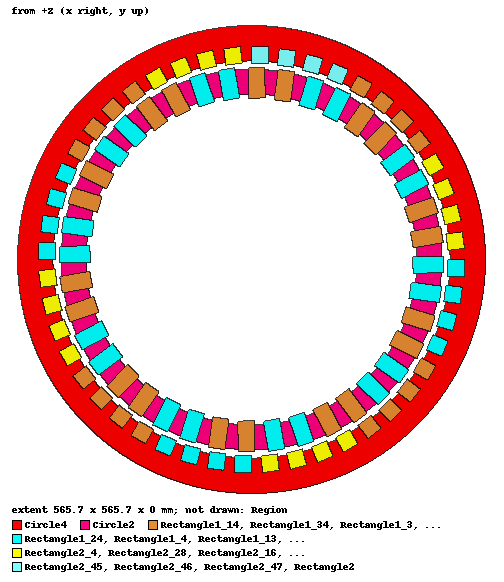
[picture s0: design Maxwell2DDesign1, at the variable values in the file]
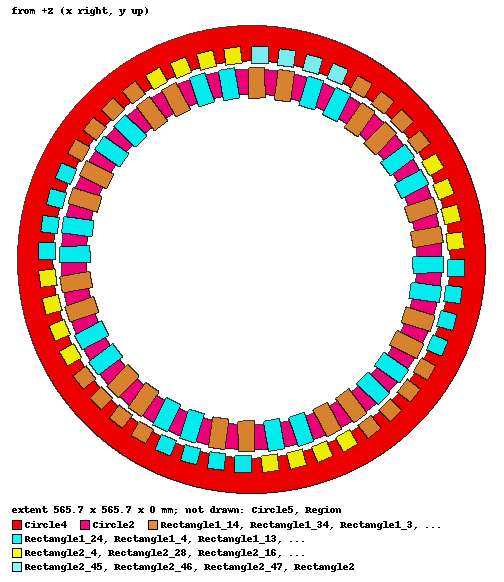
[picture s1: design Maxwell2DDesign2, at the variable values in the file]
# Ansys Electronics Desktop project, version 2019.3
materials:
  vacuum: permittivity=1
  steel_1008: permeability{HUnit=A_per_meter BUnit=tesla curve (0, 0) (159.2, 0.2402) (318.3, 0.8654) (477.5, 1.1106) (636.6, 1.2458) (795.8, 1.331) (1591.5, 1.5) (3183.1, 1.6) (4774.6, 1.683) (6366.2, 1.741) (7957.7, 1.78) (15915.5, 1.905) (31831, 2.025) (47746.5, 2.085) (63662, 2.13) (79577.5, 2.165) (159155, 2.28) (318310, 2.485) (397887, 2.5851)} conductivity=2000000
  copper: permeability=0.999991 conductivity=58000000

design Maxwell2DDesign1 (Maxwell 2D, Magnetostatic, XY geometry, model units mm)
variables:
  FieldPos = 5A
  rotation_angle = 10deg
  phaseA = 10*sin(2*Pi*Time)
  phaseB = 10*sin(2*Pi*Time-2*Pi/3)
  phaseC = -10*sin(2*Pi*Time+2*Pi/3)
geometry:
  Rectangle1 [copper] = rectangle(corner=(0mm, 195mm, 0mm), x_size=20mm, y_size=37mm)
  Circle1 = circle(normal=Z, centre=(0mm, 0mm, 0mm), radius=200mm)
  Circle2 [steel_1008] = circle(normal=Z, centre=(0mm, 0mm, 0mm), radius=230mm)
  Circle2.subtract(Circle1)
  Rectangle1_1..Rectangle1_39 [copper] = Rectangle1.duplicate_around_axis(axis=Z, angle=9deg, total=40)
  Rectangle1_40 = Rectangle1.copy()
  Rectangle1_1_1 = Rectangle1_1.copy()
  Rectangle1_10_1 = Rectangle1_10.copy()
  Rectangle1_11_1 = Rectangle1_11.copy()
  Rectangle1_12_1 = Rectangle1_12.copy()
  Rectangle1_13_1 = Rectangle1_13.copy()
  Rectangle1_14_1 = Rectangle1_14.copy()
  Rectangle1_15_1 = Rectangle1_15.copy()
  Rectangle1_16_1 = Rectangle1_16.copy()
  Rectangle1_17_1 = Rectangle1_17.copy()
  Rectangle1_18_1 = Rectangle1_18.copy()
  Rectangle1_19_1 = Rectangle1_19.copy()
  Rectangle1_2_1 = Rectangle1_2.copy()
  Rectangle1_20_1 = Rectangle1_20.copy()
  Rectangle1_21_1 = Rectangle1_21.copy()
  Rectangle1_22_1 = Rectangle1_22.copy()
  Rectangle1_23_1 = Rectangle1_23.copy()
  Rectangle1_24_1 = Rectangle1_24.copy()
  Rectangle1_25_1 = Rectangle1_25.copy()
  Rectangle1_26_1 = Rectangle1_26.copy()
  Rectangle1_27_1 = Rectangle1_27.copy()
  Rectangle1_28_1 = Rectangle1_28.copy()
  Rectangle1_29_1 = Rectangle1_29.copy()
  Rectangle1_3_1 = Rectangle1_3.copy()
  Rectangle1_30_1 = Rectangle1_30.copy()
  Rectangle1_31_1 = Rectangle1_31.copy()
  Rectangle1_32_1 = Rectangle1_32.copy()
  Rectangle1_33_1 = Rectangle1_33.copy()
  Rectangle1_34_1 = Rectangle1_34.copy()
  Rectangle1_35_1 = Rectangle1_35.copy()
  Rectangle1_36_1 = Rectangle1_36.copy()
  Rectangle1_37_1 = Rectangle1_37.copy()
  Rectangle1_38_1 = Rectangle1_38.copy()
  Rectangle1_39_1 = Rectangle1_39.copy()
  Rectangle1_4_1 = Rectangle1_4.copy()
  Rectangle1_5_1 = Rectangle1_5.copy()
  Rectangle1_6_1 = Rectangle1_6.copy()
  Rectangle1_7_1 = Rectangle1_7.copy()
  Rectangle1_8_1 = Rectangle1_8.copy()
  Rectangle1_9_1 = Rectangle1_9.copy()
  Circle2.subtract(Rectangle1_40, Rectangle1_1_1, Rectangle1_10_1, Rectangle1_11_1, Rectangle1_12_1, Rectangle1_13_1, Rectangle1_14_1, Rectangle1_15_1, Rectangle1_16_1, Rectangle1_17_1, Rectangle1_18_1, Rectangle1_19_1, Rectangle1_2_1, Rectangle1_20_1, Rectangle1_21_1, Rectangle1_22_1, Rectangle1_23_1, Rectangle1_24_1, Rectangle1_25_1, Rectangle1_26_1, Rectangle1_27_1, Rectangle1_28_1, Rectangle1_29_1, Rectangle1_3_1, Rectangle1_30_1, Rectangle1_31_1, Rectangle1_32_1, Rectangle1_33_1, Rectangle1_34_1, Rectangle1_35_1, Rectangle1_36_1, Rectangle1_37_1, Rectangle1_38_1, Rectangle1_39_1, Rectangle1_4_1, Rectangle1_5_1, Rectangle1_6_1, Rectangle1_7_1, Rectangle1_8_1, Rectangle1_9_1)
  Circle3 = circle(normal=Z, centre=(0mm, 0mm, 0mm), radius=240mm)
  Circle4 [steel_1008] = circle(normal=Z, centre=(0mm, 0mm, 0mm), radius=282.84271mm)
  Circle4.subtract(Circle3)
  Rectangle2 [copper] = rectangle(corner=(0mm, 237mm, 0mm), x_size=20mm, y_size=20mm)
  Rectangle2_1..Rectangle2_47 [copper] = Rectangle2.duplicate_around_axis(axis=Z, angle=7.5deg, total=48)
  Rectangle2_48 = Rectangle2.copy()
  Rectangle2_1_1 = Rectangle2_1.copy()
  Rectangle2_10_1 = Rectangle2_10.copy()
  Rectangle2_11_1 = Rectangle2_11.copy()
  Rectangle2_12_1 = Rectangle2_12.copy()
  Rectangle2_13_1 = Rectangle2_13.copy()
  Rectangle2_14_1 = Rectangle2_14.copy()
  Rectangle2_15_1 = Rectangle2_15.copy()
  Rectangle2_16_1 = Rectangle2_16.copy()
  Rectangle2_17_1 = Rectangle2_17.copy()
  Rectangle2_18_1 = Rectangle2_18.copy()
  Rectangle2_19_1 = Rectangle2_19.copy()
  Rectangle2_2_1 = Rectangle2_2.copy()
  Rectangle2_20_1 = Rectangle2_20.copy()
  Rectangle2_21_1 = Rectangle2_21.copy()
  Rectangle2_22_1 = Rectangle2_22.copy()
  Rectangle2_23_1 = Rectangle2_23.copy()
  Rectangle2_24_1 = Rectangle2_24.copy()
  Rectangle2_25_1 = Rectangle2_25.copy()
  Rectangle2_26_1 = Rectangle2_26.copy()
  Rectangle2_27_1 = Rectangle2_27.copy()
  Rectangle2_28_1 = Rectangle2_28.copy()
  Rectangle2_29_1 = Rectangle2_29.copy()
  Rectangle2_3_1 = Rectangle2_3.copy()
  Rectangle2_30_1 = Rectangle2_30.copy()
  Rectangle2_31_1 = Rectangle2_31.copy()
  Rectangle2_32_1 = Rectangle2_32.copy()
  Rectangle2_33_1 = Rectangle2_33.copy()
  Rectangle2_34_1 = Rectangle2_34.copy()
  Rectangle2_35_1 = Rectangle2_35.copy()
  Rectangle2_36_1 = Rectangle2_36.copy()
  Rectangle2_37_1 = Rectangle2_37.copy()
  Rectangle2_38_1 = Rectangle2_38.copy()
  Rectangle2_39_1 = Rectangle2_39.copy()
  Rectangle2_4_1 = Rectangle2_4.copy()
  Rectangle2_40_1 = Rectangle2_40.copy()
  Rectangle2_41_1 = Rectangle2_41.copy()
  Rectangle2_42_1 = Rectangle2_42.copy()
  Rectangle2_43_1 = Rectangle2_43.copy()
  Rectangle2_44_1 = Rectangle2_44.copy()
  Rectangle2_45_1 = Rectangle2_45.copy()
  Rectangle2_46_1 = Rectangle2_46.copy()
  Rectangle2_47_1 = Rectangle2_47.copy()
  Rectangle2_5_1 = Rectangle2_5.copy()
  Rectangle2_6_1 = Rectangle2_6.copy()
  Rectangle2_7_1 = Rectangle2_7.copy()
  Rectangle2_8_1 = Rectangle2_8.copy()
  Rectangle2_9_1 = Rectangle2_9.copy()
  Circle4.subtract(Rectangle2_48, Rectangle2_1_1, Rectangle2_10_1, Rectangle2_11_1, Rectangle2_12_1, Rectangle2_13_1, Rectangle2_14_1, Rectangle2_15_1, Rectangle2_16_1, Rectangle2_17_1, Rectangle2_18_1, Rectangle2_19_1, Rectangle2_2_1, Rectangle2_20_1, Rectangle2_21_1, Rectangle2_22_1, Rectangle2_23_1, Rectangle2_24_1, Rectangle2_25_1, Rectangle2_26_1, Rectangle2_27_1, Rectangle2_28_1, Rectangle2_29_1, Rectangle2_3_1, Rectangle2_30_1, Rectangle2_31_1, Rectangle2_32_1, Rectangle2_33_1, Rectangle2_34_1, Rectangle2_35_1, Rectangle2_36_1, Rectangle2_37_1, Rectangle2_38_1, Rectangle2_39_1, Rectangle2_4_1, Rectangle2_40_1, Rectangle2_41_1, Rectangle2_42_1, Rectangle2_43_1, Rectangle2_44_1, Rectangle2_45_1, Rectangle2_46_1, Rectangle2_47_1, Rectangle2_5_1, Rectangle2_6_1, Rectangle2_7_1, Rectangle2_8_1, Rectangle2_9_1)
  Region [vacuum] = region(percentage_offset: +X=200, -X=200, +Y=200, -Y=200, +Z=0, -Z=0)
  [Rectangle1_1, Rectangle1, Rectangle1_39, Rectangle1_38, Rectangle1_37, Rectangle1_36, Rectangle1_35, Rectangle1_34, Rectangle1_33, Rectangle1_32, Rectangle1_31, Rectangle1_30, Rectangle1_29, Rectangle1_28, Rectangle1_27, Rectangle1_26, Circle2, Rectangle1_24, Rectangle1_25, Rectangle1_23, Rectangle1_22, Rectangle1_21, Rectangle1_20, Rectangle1_19, Rectangle1_18, Rectangle1_17, Rectangle1_16, Rectangle1_15, Rectangle1_14, Rectangle1_13, Rectangle1_12, Rectangle1_11, Rectangle1_10, Rectangle1_9, Rectangle1_8, Rectangle1_7, Rectangle1_6, Rectangle1_5, Rectangle1_4, Rectangle1_3, Rectangle1_2].rotate(axis=Z, angle=rotation_angle)
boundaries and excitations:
  VectorPotential1: Vector Potential Edges=Region.edge(all 4) Value=0
  Current_1: Current Objects=Rectangle1 Current=FieldPos IsPositive=true
  Current_2: Current Objects=Rectangle1_37 Current=FieldPos IsPositive=true
  Current_3: Current Objects=Rectangle1_36 Current=FieldPos IsPositive=true
  Current_4: Current Objects=Rectangle1_33 Current=FieldPos IsPositive=true
  Current_5: Current Objects=Rectangle1_32 Current=FieldPos IsPositive=true
  Current_6: Current Objects=Rectangle1_29 Current=FieldPos IsPositive=true
  Current_7: Current Objects=Rectangle1_28 Current=FieldPos IsPositive=true
  Current_8: Current Objects=Rectangle1_25 Current=FieldPos IsPositive=true
  Current_9: Current Objects=Rectangle1_24 Current=FieldPos IsPositive=true
  Current_10: Current Objects=Rectangle1_21 Current=FieldPos IsPositive=true
  Current_11: Current Objects=Rectangle1_20 Current=FieldPos IsPositive=true
  Current_12: Current Objects=Rectangle1_17 Current=FieldPos IsPositive=true
  Current_13: Current Objects=Rectangle1_16 Current=FieldPos IsPositive=true
  Current_14: Current Objects=Rectangle1_13 Current=FieldPos IsPositive=true
  Current_15: Current Objects=Rectangle1_12 Current=FieldPos IsPositive=true
  Current_16: Current Objects=Rectangle1_9 Current=FieldPos IsPositive=true
  Current_17: Current Objects=Rectangle1_8 Current=FieldPos IsPositive=true
  Current_18: Current Objects=Rectangle1_5 Current=FieldPos IsPositive=true
  Current_19: Current Objects=Rectangle1_4 Current=FieldPos IsPositive=true
  Current_20: Current Objects=Rectangle1_1 Current=FieldPos IsPositive=true
  Current_21: Current Objects=Rectangle1_39 Current=FieldPos IsPositive=false
  Current_22: Current Objects=Rectangle1_38 Current=FieldPos IsPositive=false
  Current_23: Current Objects=Rectangle1_35 Current=FieldPos IsPositive=false
  Current_24: Current Objects=Rectangle1_34 Current=FieldPos IsPositive=false
  Current_25: Current Objects=Rectangle1_31 Current=FieldPos IsPositive=false
  Current_26: Current Objects=Rectangle1_30 Current=FieldPos IsPositive=false
  Current_27: Current Objects=Rectangle1_27 Current=FieldPos IsPositive=false
  Current_28: Current Objects=Rectangle1_26 Current=FieldPos IsPositive=false
  Current_29: Current Objects=Rectangle1_23 Current=FieldPos IsPositive=false
  Current_30: Current Objects=Rectangle1_22 Current=FieldPos IsPositive=false
  Current_31: Current Objects=Rectangle1_19 Current=FieldPos IsPositive=false
  Current_32: Current Objects=Rectangle1_18 Current=FieldPos IsPositive=false
  Current_33: Current Objects=Rectangle1_15 Current=FieldPos IsPositive=false
  Current_34: Current Objects=Rectangle1_14 Current=FieldPos IsPositive=false
  Current_35: Current Objects=Rectangle1_11 Current=FieldPos IsPositive=false
  Current_36: Current Objects=Rectangle1_10 Current=FieldPos IsPositive=false
  Current_37: Current Objects=Rectangle1_7 Current=FieldPos IsPositive=false
  Current_38: Current Objects=Rectangle1_6 Current=FieldPos IsPositive=false
  Current_39: Current Objects=Rectangle1_3 Current=FieldPos IsPositive=false
  Current_40: Current Objects=Rectangle1_2 Current=FieldPos IsPositive=false
  Current_41: Current Objects=Rectangle2 Current=phaseA IsPositive=true
  Current_42: Current Objects=Rectangle2_45 Current=phaseA IsPositive=true
  Current_43: Current Objects=Rectangle2_35 Current=phaseA IsPositive=true
  Current_44: Current Objects=Rectangle2_34 Current=phaseA IsPositive=true
  Current_45: Current Objects=Rectangle2_24 Current=phaseA IsPositive=true
  Current_46: Current Objects=Rectangle2_21 Current=phaseA IsPositive=true
  Current_47: Current Objects=Rectangle2_11 Current=phaseA IsPositive=true
  Current_48: Current Objects=Rectangle2_10 Current=phaseA IsPositive=true
  Current_49: Current Objects=Rectangle2_47 Current=phaseA IsPositive=false
  Current_50: Current Objects=Rectangle2_46 Current=phaseA IsPositive=false
  Current_51: Current Objects=Rectangle2_36 Current=phaseA IsPositive=false
  Current_52: Current Objects=Rectangle2_33 Current=phaseA IsPositive=false
  Current_53: Current Objects=Rectangle2_23 Current=phaseA IsPositive=false
  Current_54: Current Objects=Rectangle2_22 Current=phaseA IsPositive=false
  Current_55: Current Objects=Rectangle2_12 Current=phaseA IsPositive=false
  Current_56: Current Objects=Rectangle2_9 Current=phaseA IsPositive=false
  Current_57: Current Objects=Rectangle2_43 Current=phaseB IsPositive=true
  Current_58: Current Objects=Rectangle2_42 Current=phaseB IsPositive=true
  Current_59: Current Objects=Rectangle2_32 Current=phaseB IsPositive=true
  Current_60: Current Objects=Rectangle2_29 Current=phaseB IsPositive=true
  Current_61: Current Objects=Rectangle2_19 Current=phaseB IsPositive=true
  Current_62: Current Objects=Rectangle2_18 Current=phaseB IsPositive=true
  Current_63: Current Objects=Rectangle2_8 Current=phaseB IsPositive=true
  Current_64: Current Objects=Rectangle2_5 Current=phaseB IsPositive=true
  Current_65: Current Objects=Rectangle2_44 Current=phaseB IsPositive=false
  Current_66: Current Objects=Rectangle2_41 Current=phaseB IsPositive=false
  Current_67: Current Objects=Rectangle2_31 Current=phaseB IsPositive=false
  Current_68: Current Objects=Rectangle2_30 Current=phaseB IsPositive=false
  Current_69: Current Objects=Rectangle2_20 Current=phaseB IsPositive=false
  Current_70: Current Objects=Rectangle2_17 Current=phaseB IsPositive=false
  Current_71: Current Objects=Rectangle2_7 Current=phaseB IsPositive=false
  Current_72: Current Objects=Rectangle2_6 Current=phaseB IsPositive=false
  Current_73: Current Objects=Rectangle2_40 Current=phaseC IsPositive=true
  Current_74: Current Objects=Rectangle2_37 Current=phaseC IsPositive=true
  Current_75: Current Objects=Rectangle2_27 Current=phaseC IsPositive=true
  Current_76: Current Objects=Rectangle2_26 Current=phaseC IsPositive=true
  Current_77: Current Objects=Rectangle2_16 Current=phaseC IsPositive=true
  Current_78: Current Objects=Rectangle2_13 Current=phaseC IsPositive=true
  Current_79: Current Objects=Rectangle2_3 Current=phaseC IsPositive=true
  Current_80: Current Objects=Rectangle2_2 Current=phaseC IsPositive=true
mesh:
  initial mesh: MeshMethod=AnsoftTAU
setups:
  Setup1: Magnetostatic MaximumPasses=10 MinimumPasses=2 MinimumConvergedPasses=1 PercentRefinement=30 PercentError=1 NonLinearResidual=0.0001
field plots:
  Mag_B1: B over Circle2, Circle4, Region on Setup1 : LastAdaptive

design Maxwell2DDesign2 (Maxwell 2D, Transient, XY geometry, model units mm)
options: ComputeTransientInductance ModelDepth=1meter Multiplier=1
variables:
  FieldPos = 5A
  phaseA = 10mA
  phaseB = -5mA
  phaseC = -5mA
  rotation_angle = 10deg
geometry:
  Rectangle1 [copper] = rectangle(corner=(0mm, 195mm, 0mm), x_size=20mm, y_size=37mm)
  Circle1 = circle(normal=Z, centre=(0mm, 0mm, 0mm), radius=200mm)
  Circle2 [steel_1008] = circle(normal=Z, centre=(0mm, 0mm, 0mm), radius=230mm)
  Circle2.subtract(Circle1)
  Rectangle1_1..Rectangle1_39 [copper] = Rectangle1.duplicate_around_axis(axis=Z, angle=9deg, total=40)
  Rectangle1_40 = Rectangle1.copy()
  Rectangle1_1_1 = Rectangle1_1.copy()
  Rectangle1_10_1 = Rectangle1_10.copy()
  Rectangle1_11_1 = Rectangle1_11.copy()
  Rectangle1_12_1 = Rectangle1_12.copy()
  Rectangle1_13_1 = Rectangle1_13.copy()
  Rectangle1_14_1 = Rectangle1_14.copy()
  Rectangle1_15_1 = Rectangle1_15.copy()
  Rectangle1_16_1 = Rectangle1_16.copy()
  Rectangle1_17_1 = Rectangle1_17.copy()
  Rectangle1_18_1 = Rectangle1_18.copy()
  Rectangle1_19_1 = Rectangle1_19.copy()
  Rectangle1_2_1 = Rectangle1_2.copy()
  Rectangle1_20_1 = Rectangle1_20.copy()
  Rectangle1_21_1 = Rectangle1_21.copy()
  Rectangle1_22_1 = Rectangle1_22.copy()
  Rectangle1_23_1 = Rectangle1_23.copy()
  Rectangle1_24_1 = Rectangle1_24.copy()
  Rectangle1_25_1 = Rectangle1_25.copy()
  Rectangle1_26_1 = Rectangle1_26.copy()
  Rectangle1_27_1 = Rectangle1_27.copy()
  Rectangle1_28_1 = Rectangle1_28.copy()
  Rectangle1_29_1 = Rectangle1_29.copy()
  Rectangle1_3_1 = Rectangle1_3.copy()
  Rectangle1_30_1 = Rectangle1_30.copy()
  Rectangle1_31_1 = Rectangle1_31.copy()
  Rectangle1_32_1 = Rectangle1_32.copy()
  Rectangle1_33_1 = Rectangle1_33.copy()
  Rectangle1_34_1 = Rectangle1_34.copy()
  Rectangle1_35_1 = Rectangle1_35.copy()
  Rectangle1_36_1 = Rectangle1_36.copy()
  Rectangle1_37_1 = Rectangle1_37.copy()
  Rectangle1_38_1 = Rectangle1_38.copy()
  Rectangle1_39_1 = Rectangle1_39.copy()
  Rectangle1_4_1 = Rectangle1_4.copy()
  Rectangle1_5_1 = Rectangle1_5.copy()
  Rectangle1_6_1 = Rectangle1_6.copy()
  Rectangle1_7_1 = Rectangle1_7.copy()
  Rectangle1_8_1 = Rectangle1_8.copy()
  Rectangle1_9_1 = Rectangle1_9.copy()
  Circle2.subtract(Rectangle1_40, Rectangle1_1_1, Rectangle1_10_1, Rectangle1_11_1, Rectangle1_12_1, Rectangle1_13_1, Rectangle1_14_1, Rectangle1_15_1, Rectangle1_16_1, Rectangle1_17_1, Rectangle1_18_1, Rectangle1_19_1, Rectangle1_2_1, Rectangle1_20_1, Rectangle1_21_1, Rectangle1_22_1, Rectangle1_23_1, Rectangle1_24_1, Rectangle1_25_1, Rectangle1_26_1, Rectangle1_27_1, Rectangle1_28_1, Rectangle1_29_1, Rectangle1_3_1, Rectangle1_30_1, Rectangle1_31_1, Rectangle1_32_1, Rectangle1_33_1, Rectangle1_34_1, Rectangle1_35_1, Rectangle1_36_1, Rectangle1_37_1, Rectangle1_38_1, Rectangle1_39_1, Rectangle1_4_1, Rectangle1_5_1, Rectangle1_6_1, Rectangle1_7_1, Rectangle1_8_1, Rectangle1_9_1)
  Circle3 = circle(normal=Z, centre=(0mm, 0mm, 0mm), radius=240mm)
  Circle4 [steel_1008] = circle(normal=Z, centre=(0mm, 0mm, 0mm), radius=282.84271mm)
  Circle4.subtract(Circle3)
  Rectangle2 [copper] = rectangle(corner=(0mm, 237mm, 0mm), x_size=20mm, y_size=20mm)
  Rectangle2_1..Rectangle2_47 [copper] = Rectangle2.duplicate_around_axis(axis=Z, angle=7.5deg, total=48)
  Rectangle2_48 = Rectangle2.copy()
  Rectangle2_1_1 = Rectangle2_1.copy()
  Rectangle2_10_1 = Rectangle2_10.copy()
  Rectangle2_11_1 = Rectangle2_11.copy()
  Rectangle2_12_1 = Rectangle2_12.copy()
  Rectangle2_13_1 = Rectangle2_13.copy()
  Rectangle2_14_1 = Rectangle2_14.copy()
  Rectangle2_15_1 = Rectangle2_15.copy()
  Rectangle2_16_1 = Rectangle2_16.copy()
  Rectangle2_17_1 = Rectangle2_17.copy()
  Rectangle2_18_1 = Rectangle2_18.copy()
  Rectangle2_19_1 = Rectangle2_19.copy()
  Rectangle2_2_1 = Rectangle2_2.copy()
  Rectangle2_20_1 = Rectangle2_20.copy()
  Rectangle2_21_1 = Rectangle2_21.copy()
  Rectangle2_22_1 = Rectangle2_22.copy()
  Rectangle2_23_1 = Rectangle2_23.copy()
  Rectangle2_24_1 = Rectangle2_24.copy()
  Rectangle2_25_1 = Rectangle2_25.copy()
  Rectangle2_26_1 = Rectangle2_26.copy()
  Rectangle2_27_1 = Rectangle2_27.copy()
  Rectangle2_28_1 = Rectangle2_28.copy()
  Rectangle2_29_1 = Rectangle2_29.copy()
  Rectangle2_3_1 = Rectangle2_3.copy()
  Rectangle2_30_1 = Rectangle2_30.copy()
  Rectangle2_31_1 = Rectangle2_31.copy()
  Rectangle2_32_1 = Rectangle2_32.copy()
  Rectangle2_33_1 = Rectangle2_33.copy()
  Rectangle2_34_1 = Rectangle2_34.copy()
  Rectangle2_35_1 = Rectangle2_35.copy()
  Rectangle2_36_1 = Rectangle2_36.copy()
  Rectangle2_37_1 = Rectangle2_37.copy()
  Rectangle2_38_1 = Rectangle2_38.copy()
  Rectangle2_39_1 = Rectangle2_39.copy()
  Rectangle2_4_1 = Rectangle2_4.copy()
  Rectangle2_40_1 = Rectangle2_40.copy()
  Rectangle2_41_1 = Rectangle2_41.copy()
  Rectangle2_42_1 = Rectangle2_42.copy()
  Rectangle2_43_1 = Rectangle2_43.copy()
  Rectangle2_44_1 = Rectangle2_44.copy()
  Rectangle2_45_1 = Rectangle2_45.copy()
  Rectangle2_46_1 = Rectangle2_46.copy()
  Rectangle2_47_1 = Rectangle2_47.copy()
  Rectangle2_5_1 = Rectangle2_5.copy()
  Rectangle2_6_1 = Rectangle2_6.copy()
  Rectangle2_7_1 = Rectangle2_7.copy()
  Rectangle2_8_1 = Rectangle2_8.copy()
  Rectangle2_9_1 = Rectangle2_9.copy()
  Circle4.subtract(Rectangle2_48, Rectangle2_1_1, Rectangle2_10_1, Rectangle2_11_1, Rectangle2_12_1, Rectangle2_13_1, Rectangle2_14_1, Rectangle2_15_1, Rectangle2_16_1, Rectangle2_17_1, Rectangle2_18_1, Rectangle2_19_1, Rectangle2_2_1, Rectangle2_20_1, Rectangle2_21_1, Rectangle2_22_1, Rectangle2_23_1, Rectangle2_24_1, Rectangle2_25_1, Rectangle2_26_1, Rectangle2_27_1, Rectangle2_28_1, Rectangle2_29_1, Rectangle2_3_1, Rectangle2_30_1, Rectangle2_31_1, Rectangle2_32_1, Rectangle2_33_1, Rectangle2_34_1, Rectangle2_35_1, Rectangle2_36_1, Rectangle2_37_1, Rectangle2_38_1, Rectangle2_39_1, Rectangle2_4_1, Rectangle2_40_1, Rectangle2_41_1, Rectangle2_42_1, Rectangle2_43_1, Rectangle2_44_1, Rectangle2_45_1, Rectangle2_46_1, Rectangle2_47_1, Rectangle2_5_1, Rectangle2_6_1, Rectangle2_7_1, Rectangle2_8_1, Rectangle2_9_1)
  Region [vacuum] = region(percentage_offset: +X=200, -X=200, +Y=200, -Y=200, +Z=0, -Z=0)
  [Rectangle1_1, Rectangle1, Rectangle1_39, Rectangle1_38, Rectangle1_37, Rectangle1_36, Rectangle1_35, Rectangle1_34, Rectangle1_33, Rectangle1_32, Rectangle1_31, Rectangle1_30, Rectangle1_29, Rectangle1_28, Rectangle1_27, Rectangle1_26, Circle2, Rectangle1_24, Rectangle1_25, Rectangle1_23, Rectangle1_22, Rectangle1_21, Rectangle1_20, Rectangle1_19, Rectangle1_18, Rectangle1_17, Rectangle1_16, Rectangle1_15, Rectangle1_14, Rectangle1_13, Rectangle1_12, Rectangle1_11, Rectangle1_10, Rectangle1_9, Rectangle1_8, Rectangle1_7, Rectangle1_6, Rectangle1_5, Rectangle1_4, Rectangle1_3, Rectangle1_2].rotate(axis=Z, angle=rotation_angle)
  Circle5 [vacuum] = circle(normal=Z, centre=(0mm, 0mm, 0mm), radius=233.23808mm)
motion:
  MotionSetup1: Band Move_Type=Rotate Coordinate_System=Global Axis=Z Is_Positive=true InitPos=0deg Angular_Velocity=15000rpm Objects=Circle5
  Moving1: Moving Objects=[Rectangle1, Circle2, Rectangle1_1..Rectangle1_39]
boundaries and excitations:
  VectorPotential1: Vector Potential Edges=Region.edge(all 4) Value=0
  Current_1: Current Objects=Rectangle1 Current=FieldPos IsSolid=true IsPositive=true
  Current_2: Current Objects=Rectangle1_37 Current=FieldPos IsSolid=true IsPositive=true
  Current_3: Current Objects=Rectangle1_36 Current=FieldPos IsSolid=true IsPositive=true
  Current_4: Current Objects=Rectangle1_33 Current=FieldPos IsSolid=true IsPositive=true
  Current_5: Current Objects=Rectangle1_32 Current=FieldPos IsSolid=true IsPositive=true
  Current_6: Current Objects=Rectangle1_29 Current=FieldPos IsSolid=true IsPositive=true
  Current_7: Current Objects=Rectangle1_28 Current=FieldPos IsSolid=true IsPositive=true
  Current_8: Current Objects=Rectangle1_25 Current=FieldPos IsSolid=true IsPositive=true
  Current_9: Current Objects=Rectangle1_24 Current=FieldPos IsSolid=true IsPositive=true
  Current_10: Current Objects=Rectangle1_21 Current=FieldPos IsSolid=true IsPositive=true
  Current_11: Current Objects=Rectangle1_20 Current=FieldPos IsSolid=true IsPositive=true
  Current_12: Current Objects=Rectangle1_17 Current=FieldPos IsSolid=true IsPositive=true
  Current_13: Current Objects=Rectangle1_16 Current=FieldPos IsSolid=true IsPositive=true
  Current_14: Current Objects=Rectangle1_13 Current=FieldPos IsSolid=true IsPositive=true
  Current_15: Current Objects=Rectangle1_12 Current=FieldPos IsSolid=true IsPositive=true
  Current_16: Current Objects=Rectangle1_9 Current=FieldPos IsSolid=true IsPositive=true
  Current_17: Current Objects=Rectangle1_8 Current=FieldPos IsSolid=true IsPositive=true
  Current_18: Current Objects=Rectangle1_5 Current=FieldPos IsSolid=true IsPositive=true
  Current_19: Current Objects=Rectangle1_4 Current=FieldPos IsSolid=true IsPositive=true
  Current_20: Current Objects=Rectangle1_1 Current=FieldPos IsSolid=true IsPositive=true
  Current_21: Current Objects=Rectangle1_39 Current=FieldPos IsSolid=true IsPositive=false
  Current_22: Current Objects=Rectangle1_38 Current=FieldPos IsSolid=true IsPositive=false
  Current_23: Current Objects=Rectangle1_35 Current=FieldPos IsSolid=true IsPositive=false
  Current_24: Current Objects=Rectangle1_34 Current=FieldPos IsSolid=true IsPositive=false
  Current_25: Current Objects=Rectangle1_31 Current=FieldPos IsSolid=true IsPositive=false
  Current_26: Current Objects=Rectangle1_30 Current=FieldPos IsSolid=true IsPositive=false
  Current_27: Current Objects=Rectangle1_27 Current=FieldPos IsSolid=true IsPositive=false
  Current_28: Current Objects=Rectangle1_26 Current=FieldPos IsSolid=true IsPositive=false
  Current_29: Current Objects=Rectangle1_23 Current=FieldPos IsSolid=true IsPositive=false
  Current_30: Current Objects=Rectangle1_22 Current=FieldPos IsSolid=true IsPositive=false
  Current_31: Current Objects=Rectangle1_19 Current=FieldPos IsSolid=true IsPositive=false
  Current_32: Current Objects=Rectangle1_18 Current=FieldPos IsSolid=true IsPositive=false
  Current_33: Current Objects=Rectangle1_15 Current=FieldPos IsSolid=true IsPositive=false
  Current_34: Current Objects=Rectangle1_14 Current=FieldPos IsSolid=true IsPositive=false
  Current_35: Current Objects=Rectangle1_11 Current=FieldPos IsSolid=true IsPositive=false
  Current_36: Current Objects=Rectangle1_10 Current=FieldPos IsSolid=true IsPositive=false
  Current_37: Current Objects=Rectangle1_7 Current=FieldPos IsSolid=true IsPositive=false
  Current_38: Current Objects=Rectangle1_6 Current=FieldPos IsSolid=true IsPositive=false
  Current_39: Current Objects=Rectangle1_3 Current=FieldPos IsSolid=true IsPositive=false
  Current_40: Current Objects=Rectangle1_2 Current=FieldPos IsSolid=true IsPositive=false
  RectangleA_1: Coil Objects=Rectangle2 Conductor_number=5 Winding=phaseA PolarityType=Positive
  RectangleA_2: Coil Objects=Rectangle2_47 Conductor_number=5 Winding=phaseA PolarityType=Negative
  RectangleA_3: Coil Objects=Rectangle2_46 Conductor_number=5 Winding=phaseA PolarityType=Negative
  RectangleA_4: Coil Objects=Rectangle2_45 Conductor_number=5 Winding=phaseA PolarityType=Positive
  RectangleA_5: Coil Objects=Rectangle2_36 Conductor_number=5 Winding=phaseA PolarityType=Negative
  RectangleA_6: Coil Objects=Rectangle2_35 Conductor_number=5 Winding=phaseA PolarityType=Positive
  RectangleA_7: Coil Objects=Rectangle2_34 Conductor_number=5 Winding=phaseA PolarityType=Positive
  RectangleA_8: Coil Objects=Rectangle2_33 Conductor_number=5 Winding=phaseA PolarityType=Negative
  RectangleA_9: Coil Objects=Rectangle2_24 Conductor_number=5 Winding=phaseA PolarityType=Positive
  RectangleA_10: Coil Objects=Rectangle2_23 Conductor_number=5 Winding=phaseA PolarityType=Negative
  RectangleA_11: Coil Objects=Rectangle2_22 Conductor_number=5 Winding=phaseA PolarityType=Negative
  RectangleA_12: Coil Objects=Rectangle2_21 Conductor_number=5 Winding=phaseA PolarityType=Positive
  RectangleA_13: Coil Objects=Rectangle2_12 Conductor_number=5 Winding=phaseA PolarityType=Negative
  RectangleA_14: Coil Objects=Rectangle2_11 Conductor_number=5 Winding=phaseA PolarityType=Positive
  RectangleA_15: Coil Objects=Rectangle2_10 Conductor_number=5 Winding=phaseA PolarityType=Positive
  RectangleA_16: Coil Objects=Rectangle2_9 Conductor_number=5 Winding=phaseA PolarityType=Negative
  phaseBB_1: Coil Objects=Rectangle2_44 Conductor_number=5 Winding=phaseB PolarityType=Negative
  phaseBB_2: Coil Objects=Rectangle2_43 Conductor_number=5 Winding=phaseB PolarityType=Positive
  phaseBB_3: Coil Objects=Rectangle2_42 Conductor_number=5 Winding=phaseB PolarityType=Positive
  phaseBB_4: Coil Objects=Rectangle2_41 Conductor_number=5 Winding=phaseB PolarityType=Negative
  phaseBB_5: Coil Objects=Rectangle2_32 Conductor_number=5 Winding=phaseB PolarityType=Positive
  phaseBB_6: Coil Objects=Rectangle2_31 Conductor_number=5 Winding=phaseB PolarityType=Negative
  phaseBB_7: Coil Objects=Rectangle2_30 Conductor_number=5 Winding=phaseB PolarityType=Negative
  phaseBB_8: Coil Objects=Rectangle2_29 Conductor_number=5 Winding=phaseB PolarityType=Positive
  phaseBB_9: Coil Objects=Rectangle2_20 Conductor_number=5 Winding=phaseB PolarityType=Negative
  phaseBB_10: Coil Objects=Rectangle2_19 Conductor_number=5 Winding=phaseB PolarityType=Positive
  phaseBB_11: Coil Objects=Rectangle2_18 Conductor_number=5 Winding=phaseB PolarityType=Positive
  phaseBB_12: Coil Objects=Rectangle2_17 Conductor_number=5 Winding=phaseB PolarityType=Negative
  phaseBB_13: Coil Objects=Rectangle2_8 Conductor_number=5 Winding=phaseB PolarityType=Positive
  phaseBB_14: Coil Objects=Rectangle2_7 Conductor_number=5 Winding=phaseB PolarityType=Negative
  phaseBB_15: Coil Objects=Rectangle2_6 Conductor_number=5 Winding=phaseB PolarityType=Negative
  phaseBB_16: Coil Objects=Rectangle2_5 Conductor_number=5 Winding=phaseB PolarityType=Positive
  Rectangle2_2: Coil Objects=Rectangle2_2 Conductor_number=5 Winding=Winding1 PolarityType=Positive
  Rectangle2_3: Coil Objects=Rectangle2_3 Conductor_number=5 Winding=Winding1 PolarityType=Negative
  phaseA: Winding Group Type=Current IsSolid=false Current=0mA ParallelBranchesNum=1
  phaseB: Winding Group Type=Current IsSolid=false Current=0mA ParallelBranchesNum=1
  Winding1: Winding Group Type=Current IsSolid=false Current=0mA ParallelBranchesNum=1
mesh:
  initial mesh: MeshMethod=AnsoftTAU
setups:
  Setup1: Transient NonlinearSolverResidual=0.0001 StopTime=100ms TimeStep=500us SaveFieldsType="Every N Steps" N_Steps=10 Steps_From=0s Steps_To=100ms NumberSolveSteps=1 RangeStart=0s RangeEnd=0.1s InitialTimeStep=0.002s MinTimeStep=0.001s MaxTimeStep=0.003s TimeStepErrTolerance=0.0001
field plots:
  Mag_B1: B over Circle2, Circle4 on Setup1 : Transient at Time=-1
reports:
  Winding Plot 1: InducedVoltage(phaseA) vs Time on Setup1 : Transient
  Winding Plot 2: InducedVoltage(phaseB) vs Time on Setup1 : Transient
  Winding Plot 3: FluxLinkage(Winding1) vs Moving1.Position on Setup1 : Transient
  Torque Plot 1: Moving1.LoadTorque vs Moving1.Position on Setup1 : Transient
  Torque Plot 2: Moving1.Torque vs Moving1.Position on Setup1 : Transient
